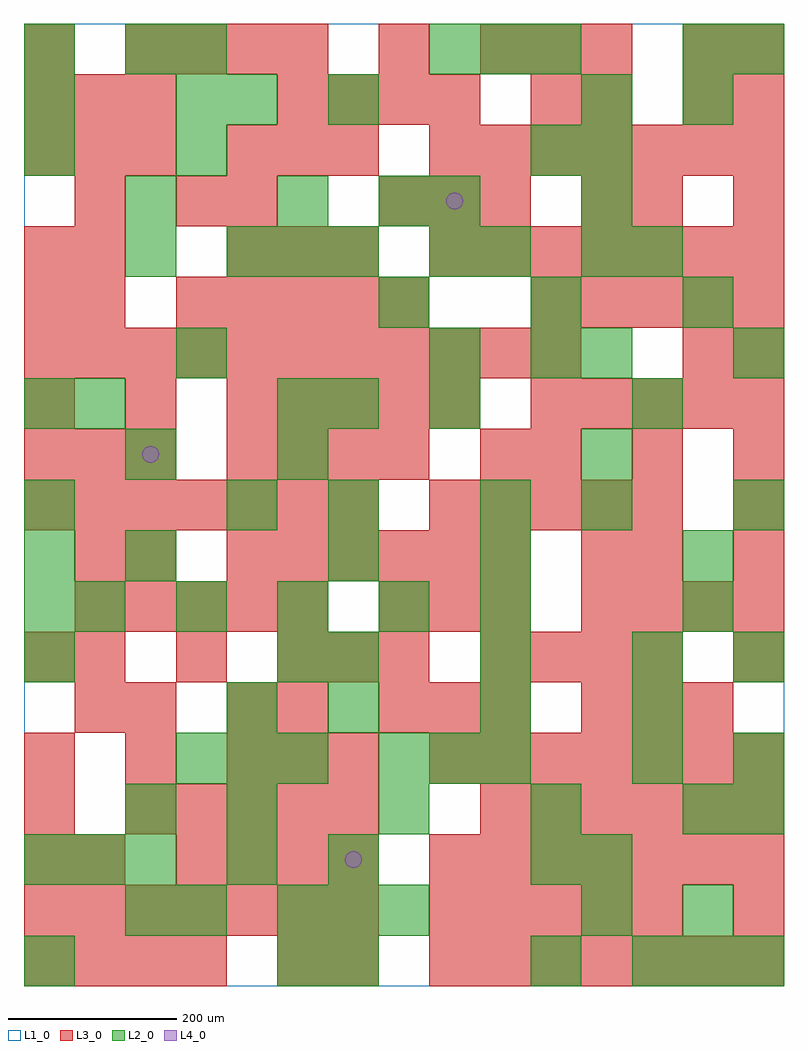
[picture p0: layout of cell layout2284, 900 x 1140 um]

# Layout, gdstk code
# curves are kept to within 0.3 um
import gdstk
lib = gdstk.Library(unit=1e-6, precision=1e-09)
def R(c, l, rs):  # rectangles x0, y0, x1, y1
    for r in rs: c.add(gdstk.rectangle(r[:2], r[2:], *l))
def A(c, l, x, y, w, h, nx, ny, dx, dy):  # array of equal rectangles
    R(c, l, [(x+i*dx, y+j*dy, x+i*dx+w, y+j*dy+h) for i in range(nx) for j in range(ny)])
def P(c, l, *ps):  # polygons
    for p in ps: c.add(gdstk.Polygon(p, *l))
L1_0 = (1, 0)
L2_0 = (2, 0)
L3_0 = (3, 0)
L4_0 = (4, 0)

layout2284 = lib.new_cell('layout2284')
R(layout2284, L1_0, [(0,0,900,1140)])
A(layout2284, L2_0, 720, 0, 60, 60, 3, 1, 60, 0)
A(layout2284, L2_0, 300, 60, 60, 60, 3, 1, 60, 0)
A(layout2284, L2_0, 0, 120, 60, 60, 3, 1, 60, 0)
A(layout2284, L2_0, 240, 180, 60, 60, 4, 1, 180, 0)
A(layout2284, L2_0, 180, 240, 60, 60, 3, 1, 60, 0)
A(layout2284, L2_0, 420, 240, 60, 60, 3, 1, 60, 0)
A(layout2284, L2_0, 360, 300, 60, 60, 3, 2, 180, 60)
A(layout2284, L2_0, 0, 360, 60, 60, 1, 4, 0, 60)
A(layout2284, L2_0, 840, 360, 60, 60, 1, 3, 0, 180)
A(layout2284, L2_0, 60, 420, 60, 60, 5, 1, 120, 0)
A(layout2284, L2_0, 660, 600, 60, 60, 1, 3, 0, 120)
A(layout2284, L2_0, 420, 780, 60, 60, 3, 1, 180, 0)
A(layout2284, L2_0, 240, 840, 60, 60, 3, 1, 60, 0)
A(layout2284, L2_0, 660, 900, 60, 60, 1, 3, 0, 60)
A(layout2284, L2_0, 0, 960, 60, 60, 1, 3, 0, 60)
A(layout2284, L2_0, 180, 960, 60, 60, 1, 3, 0, 60)
A(layout2284, L2_0, 480, 1080, 60, 60, 3, 1, 60, 0)
R(layout2284, L2_0, [(0,0,60,60), (300,0,360,60), (360,0,420,60), (600,0,660,60), (120,60,180,120), (180,60,240,120), (660,60,720,120), (780,60,840,120), (240,120,300,180), (360,120,420,180), (600,120,660,180), (660,120,720,180), (120,180,180,240), (840,180,900,240), (720,240,780,300), (840,240,900,300), (240,300,300,360), (300,360,360,420), (780,420,840,480), (120,480,180,540), (360,480,420,540), (540,480,600,540), (780,480,840,540), (240,540,300,600), (360,540,420,600), (540,540,600,600), (660,540,720,600), (120,600,180,660), (300,600,360,660), (0,660,60,720), (60,660,120,720), (300,660,360,720), (360,660,420,720), (480,660,540,720), (720,660,780,720), (180,720,240,780), (480,720,540,780), (600,720,660,780), (120,840,180,900), (480,840,540,900), (540,840,600,900), (720,840,780,900), (120,900,180,960), (300,900,360,960), (420,900,480,960), (480,900,540,960), (600,960,660,1020), (240,1020,300,1080), (360,1020,420,1080), (780,1020,840,1080), (120,1080,180,1140), (780,1080,840,1140), (840,1080,900,1140)])
A(layout2284, L3_0, 0, 0, 60, 60, 4, 1, 60, 0)
A(layout2284, L3_0, 480, 0, 60, 60, 7, 3, 60, 120)
A(layout2284, L3_0, 0, 60, 60, 60, 7, 2, 60, 480)
A(layout2284, L3_0, 480, 60, 60, 60, 5, 2, 60, 480)
A(layout2284, L3_0, 60, 120, 60, 60, 1, 3, 0, 180)
A(layout2284, L3_0, 180, 120, 60, 60, 4, 1, 60, 0)
A(layout2284, L3_0, 120, 180, 60, 60, 5, 1, 60, 0)
A(layout2284, L3_0, 540, 180, 60, 60, 6, 1, 60, 0)
A(layout2284, L3_0, 0, 240, 60, 60, 3, 2, 120, 420)
A(layout2284, L3_0, 420, 300, 60, 60, 3, 2, 60, 120)
A(layout2284, L3_0, 660, 300, 60, 60, 3, 1, 60, 0)
A(layout2284, L3_0, 60, 360, 60, 60, 3, 1, 120, 0)
A(layout2284, L3_0, 540, 360, 60, 60, 4, 1, 60, 0)
A(layout2284, L3_0, 60, 420, 60, 60, 5, 1, 60, 0)
A(layout2284, L3_0, 660, 420, 60, 60, 4, 1, 60, 0)
A(layout2284, L3_0, 240, 480, 60, 60, 6, 1, 60, 0)
A(layout2284, L3_0, 840, 540, 60, 60, 1, 3, 0, 180)
A(layout2284, L3_0, 0, 600, 60, 60, 3, 2, 60, 360)
A(layout2284, L3_0, 240, 600, 60, 60, 4, 1, 60, 0)
A(layout2284, L3_0, 600, 600, 60, 60, 3, 1, 120, 0)
A(layout2284, L3_0, 300, 660, 60, 60, 4, 2, 60, 360)
A(layout2284, L3_0, 600, 660, 60, 60, 5, 2, 60, 120)
A(layout2284, L3_0, 0, 720, 60, 60, 11, 1, 60, 0)
A(layout2284, L3_0, 60, 780, 60, 60, 1, 3, 0, 60)
A(layout2284, L3_0, 180, 780, 60, 60, 5, 1, 60, 0)
A(layout2284, L3_0, 240, 840, 60, 60, 3, 2, 60, 120)
A(layout2284, L3_0, 480, 840, 60, 60, 7, 2, 60, 120)
A(layout2284, L3_0, 420, 900, 60, 60, 3, 1, 60, 0)
A(layout2284, L3_0, 0, 1020, 60, 60, 3, 1, 60, 0)
A(layout2284, L3_0, 120, 1080, 60, 60, 4, 1, 60, 0)
A(layout2284, L3_0, 540, 1080, 60, 60, 3, 1, 60, 0)
R(layout2284, L3_0, [(300,0,360,60), (360,0,420,60), (840,60,900,120), (0,120,60,180), (0,180,60,240), (300,240,360,300), (360,240,420,300), (120,300,180,360), (240,300,300,360), (300,300,360,360), (0,360,60,420), (360,360,420,420), (420,360,480,420), (840,360,900,420), (120,480,180,540), (660,480,720,540), (720,480,780,540), (840,480,900,540), (540,600,600,660), (780,720,840,780), (0,780,60,840), (0,840,60,900), (180,900,240,960), (240,900,300,960), (660,900,720,960), (720,900,780,960), (600,1020,660,1080), (660,1020,720,1080), (780,1020,840,1080), (840,1020,900,1080), (0,1080,60,1140), (420,1080,480,1140), (780,1080,840,1140), (840,1080,900,1140)])
P(layout2284, L4_0, [(160,630),(159.239,633.827),(157.071,637.071),(153.827,639.239),(150,640),(146.173,639.239),(142.929,637.071),(140.761,633.827),(140,630),(140.761,626.173),(142.929,622.929),(146.173,620.761),(150,620),(153.827,620.761),(157.071,622.929),(159.239,626.173)],
  [(400,150),(399.239,153.827),(397.071,157.071),(393.827,159.239),(390,160),(386.173,159.239),(382.929,157.071),(380.761,153.827),(380,150),(380.761,146.173),(382.929,142.929),(386.173,140.761),(390,140),(393.827,140.761),(397.071,142.929),(399.239,146.173)],
  [(520,930),(519.239,933.827),(517.071,937.071),(513.827,939.239),(510,940),(506.173,939.239),(502.929,937.071),(500.761,933.827),(500,930),(500.761,926.173),(502.929,922.929),(506.173,920.761),(510,920),(513.827,920.761),(517.071,922.929),(519.239,926.173)])

lib.write_gds('layout2284.gds')
